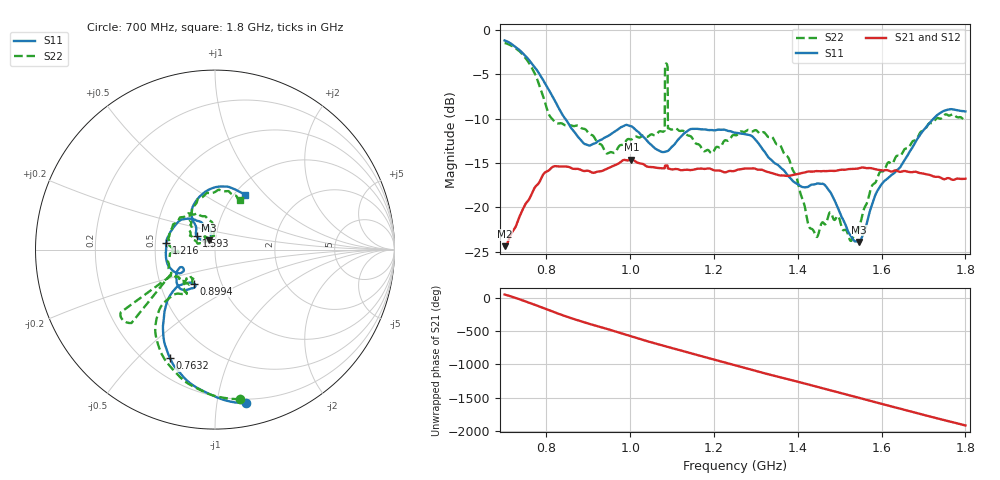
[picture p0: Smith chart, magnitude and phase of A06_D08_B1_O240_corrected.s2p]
! Created with skrf 1.9.0 (http://scikit-rf.org).
# Hz S RI R 50.0
!freq ReS11 ImS11 ReS21 ImS21 ReS12 ImS12 ReS22 ImS22
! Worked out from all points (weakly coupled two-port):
!   1601 points, 700 MHz to 1.8 GHz, reference 50 ohm
!   highest |S21| = -14.62 dB at 1.002 GHz (marker M1); lowest = -24.4 dB at 700 MHz (marker M2)
!   lowest |S11| = -23.9 dB at 1.546 GHz (marker M3), VSWR 1.14, Z = 46.3 + j4.91 ohm
!   |S11| at or under -10 dB: 844.5 MHz to 1.724 GHz (879.6 MHz wide, 68.5 % of centre)
!   |S22| runs from -23.8 to -1.5 dB; largest |S21 - S12| = 0.0037
!   S11 on the Smith chart (normalised r, x): 700 MHz: 0.17, -1.21; 763.2 MHz: 0.30, -0.62; 899.4 MHz: 0.74, -0.29; 1.216 GHz: 0.57, +0.05; 1.593 GHz: 0.80, +0.12; 1.8 GHz: 1.11, +0.77
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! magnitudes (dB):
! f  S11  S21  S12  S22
! 700 MHz  -1.2  -24.4  -24.2  -1.5
! 763.2 MHz  -3.7  -18.6  -18.6  -4.1
! 812.1 MHz  -7.3  -15.5  -15.5  -10.0
! 883.6 MHz  -12.5  -15.8  -15.7  -11.1
! 899.4 MHz  -13.0  -15.9  -15.9  -11.6
! 945.4 MHz  -12.0  -15.6  -15.7  -13.9
! 1.002 GHz  -10.9  -14.6  -14.7  -12.4
! 1.067 GHz  -13.6  -15.6  -15.5  -11.5
! 1.077 GHz  -13.8  -15.6  -15.6  -11.5
! 1.084 GHz  -13.7  -15.3  -15.3  -3.9
! 1.088 GHz  -13.7  -15.3  -15.3  -4.0
! 1.095 GHz  -13.4  -15.7  -15.7  -11.2
! 1.216 GHz  -11.3  -15.9  -15.9  -13.2
! 1.25 GHz  -11.6  -15.9  -15.8  -11.9
! 1.358 GHz  -15.5  -16.4  -16.4  -13.0
! 1.434 GHz  -17.4  -16.0  -16.0  -22.5
! 1.469 GHz  -17.7  -15.9  -15.9  -21.7
! 1.546 GHz  -23.9  -15.6  -15.6  -22.3
! 1.593 GHz  -17.9  -15.8  -15.8  -16.3
! 1.617 GHz  -16.6  -15.9  -15.8  -14.9
! 1.733 GHz  -9.6  -16.6  -16.6  -9.9
! 1.8 GHz  -9.2  -16.8  -16.8  -10.2
